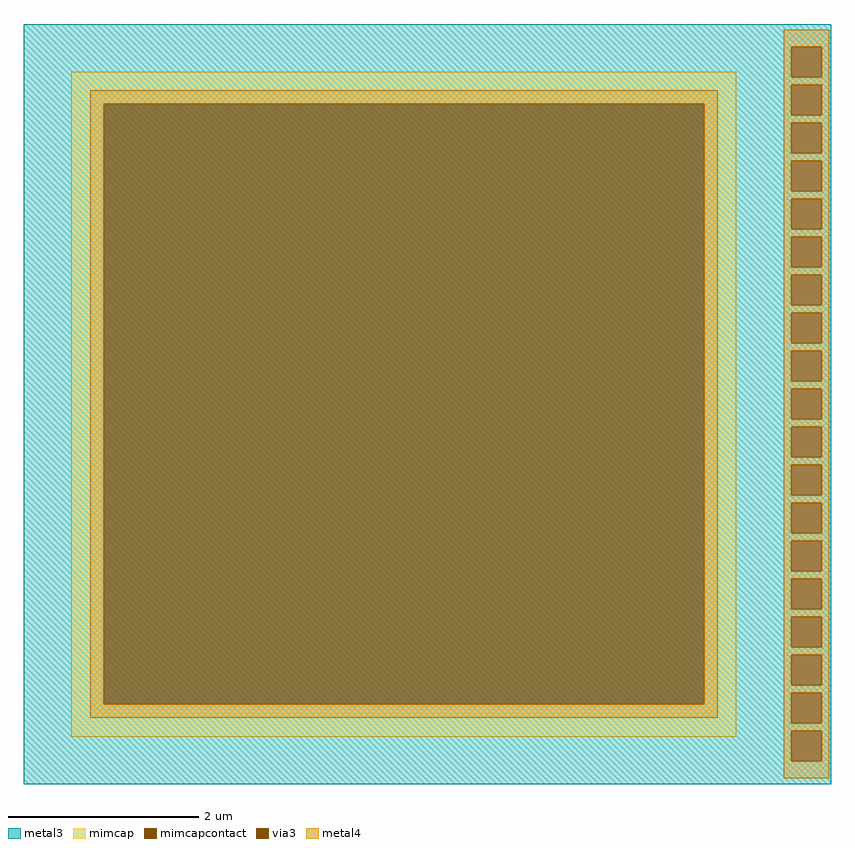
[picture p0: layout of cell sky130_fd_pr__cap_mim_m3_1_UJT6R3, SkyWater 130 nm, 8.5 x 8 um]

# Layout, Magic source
magic
tech sky130A
magscale 1 2
<< metal3 >>
rect -850 752 849 800
rect -850 688 765 752
rect 829 688 849 752
rect -850 672 849 688
rect -850 608 765 672
rect 829 608 849 672
rect -850 592 849 608
rect -850 528 765 592
rect 829 528 849 592
rect -850 512 849 528
rect -850 448 765 512
rect 829 448 849 512
rect -850 432 849 448
rect -850 368 765 432
rect 829 368 849 432
rect -850 352 849 368
rect -850 288 765 352
rect 829 288 849 352
rect -850 272 849 288
rect -850 208 765 272
rect 829 208 849 272
rect -850 192 849 208
rect -850 128 765 192
rect 829 128 849 192
rect -850 112 849 128
rect -850 48 765 112
rect 829 48 849 112
rect -850 32 849 48
rect -850 -32 765 32
rect 829 -32 849 32
rect -850 -48 849 -32
rect -850 -112 765 -48
rect 829 -112 849 -48
rect -850 -128 849 -112
rect -850 -192 765 -128
rect 829 -192 849 -128
rect -850 -208 849 -192
rect -850 -272 765 -208
rect 829 -272 849 -208
rect -850 -288 849 -272
rect -850 -352 765 -288
rect 829 -352 849 -288
rect -850 -368 849 -352
rect -850 -432 765 -368
rect 829 -432 849 -368
rect -850 -448 849 -432
rect -850 -512 765 -448
rect 829 -512 849 -448
rect -850 -528 849 -512
rect -850 -592 765 -528
rect 829 -592 849 -528
rect -850 -608 849 -592
rect -850 -672 765 -608
rect 829 -672 849 -608
rect -850 -688 849 -672
rect -850 -752 765 -688
rect 829 -752 849 -688
rect -850 -800 849 -752
<< via3 >>
rect 765 688 829 752
rect 765 608 829 672
rect 765 528 829 592
rect 765 448 829 512
rect 765 368 829 432
rect 765 288 829 352
rect 765 208 829 272
rect 765 128 829 192
rect 765 48 829 112
rect 765 -32 829 32
rect 765 -112 829 -48
rect 765 -192 829 -128
rect 765 -272 829 -208
rect 765 -352 829 -288
rect 765 -432 829 -368
rect 765 -512 829 -448
rect 765 -592 829 -528
rect 765 -672 829 -608
rect 765 -752 829 -688
<< mimcap >>
rect -750 632 650 700
rect -750 -632 -682 632
rect 582 -632 650 632
rect -750 -700 650 -632
<< mimcapcontact >>
rect -682 -632 582 632
<< metal4 >>
rect 749 752 845 788
rect 749 688 765 752
rect 829 688 845 752
rect 749 672 845 688
rect -711 632 611 661
rect -711 -632 -682 632
rect 582 -632 611 632
rect -711 -661 611 -632
rect 749 608 765 672
rect 829 608 845 672
rect 749 592 845 608
rect 749 528 765 592
rect 829 528 845 592
rect 749 512 845 528
rect 749 448 765 512
rect 829 448 845 512
rect 749 432 845 448
rect 749 368 765 432
rect 829 368 845 432
rect 749 352 845 368
rect 749 288 765 352
rect 829 288 845 352
rect 749 272 845 288
rect 749 208 765 272
rect 829 208 845 272
rect 749 192 845 208
rect 749 128 765 192
rect 829 128 845 192
rect 749 112 845 128
rect 749 48 765 112
rect 829 48 845 112
rect 749 32 845 48
rect 749 -32 765 32
rect 829 -32 845 32
rect 749 -48 845 -32
rect 749 -112 765 -48
rect 829 -112 845 -48
rect 749 -128 845 -112
rect 749 -192 765 -128
rect 829 -192 845 -128
rect 749 -208 845 -192
rect 749 -272 765 -208
rect 829 -272 845 -208
rect 749 -288 845 -272
rect 749 -352 765 -288
rect 829 -352 845 -288
rect 749 -368 845 -352
rect 749 -432 765 -368
rect 829 -432 845 -368
rect 749 -448 845 -432
rect 749 -512 765 -448
rect 829 -512 845 -448
rect 749 -528 845 -512
rect 749 -592 765 -528
rect 829 -592 845 -528
rect 749 -608 845 -592
rect 749 -672 765 -608
rect 829 -672 845 -608
rect 749 -688 845 -672
rect 749 -752 765 -688
rect 829 -752 845 -688
rect 749 -788 845 -752
<< properties >>
string FIXED_BBOX -850 -800 750 800
<< end >>
